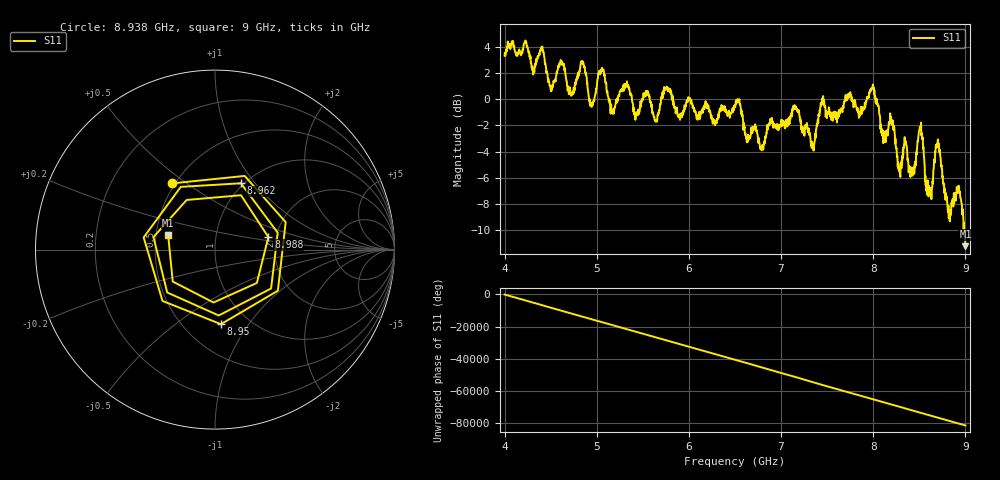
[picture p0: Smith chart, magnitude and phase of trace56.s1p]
! Created with skrf 1.8.0 (http://scikit-rf.org).
# Hz S RI R 50.0
!freq ReS11 ImS11
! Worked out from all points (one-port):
!   1601 points, 4 GHz to 9 GHz, reference 50 ohm
!   lowest |S11| = -11.3 dB at 9 GHz (marker M1), VSWR 1.75, Z = 29 + j5.13 ohm
!   |S11| at or under -10 dB: 8.986535 GHz to end of sweep
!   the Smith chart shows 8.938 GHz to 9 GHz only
!   S11 on the Smith chart (normalised r, x): 8.938 GHz: 0.48, +0.44; 8.95 GHz: 0.75, -0.75; 8.962 GHz: 0.97, +0.85; 8.988 GHz: 1.82, +0.28; 9 GHz: 0.58, +0.10
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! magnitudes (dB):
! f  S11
! 4 GHz  3.4
! 4.503 GHz  0.6
! 4.625 GHz  2.6
! 4.722 GHz  0.3
! 4.847 GHz  2.9
! 4.941 GHz  -0.6
! 5.05 GHz  2.3
! 5.166 GHz  -0.8
! 5.25 GHz  0.6
! 5.875 GHz  -1.1
! 6.5 GHz  -0.6
! 6.791 GHz  -3.6
! 7.125 GHz  -0.9
! 7.344 GHz  -3.7
! 7.444 GHz  -0.3
! 7.75 GHz  0.5
! 7.991 GHz  0.9
! 8.281 GHz  -5.5
! 8.375 GHz  -4.6
! 8.512 GHz  -2.2
! 8.606 GHz  -6.6
! 8.697 GHz  -3.4
! 8.819 GHz  -9.1
! 8.938 GHz  -7.1
! 8.95 GHz  -7.6
! 8.962 GHz  -8.0
! 8.988 GHz  -10.3
! 9 GHz  -11.3
